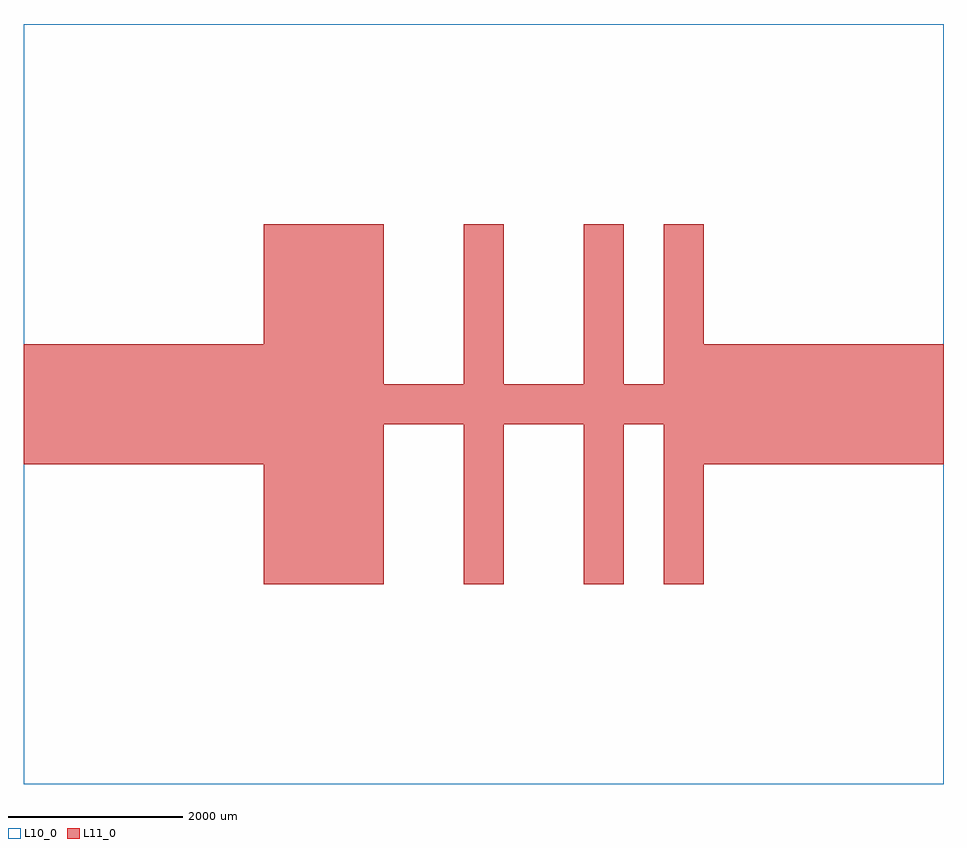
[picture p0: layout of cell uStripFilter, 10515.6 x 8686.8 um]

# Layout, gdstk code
import gdstk
lib = gdstk.Library(unit=1e-6, precision=1e-09)
def R(c, l, rs):  # rectangles x0, y0, x1, y1
    for r in rs: c.add(gdstk.rectangle(r[:2], r[2:], *l))
def A(c, l, x, y, w, h, nx, ny, dx, dy):  # array of equal rectangles
    R(c, l, [(x+i*dx, y+j*dy, x+i*dx+w, y+j*dy+h) for i in range(nx) for j in range(ny)])
L10_0 = (10, 0)
L11_0 = (11, 0)

ustripfilter = lib.new_cell('uStripFilter')
R(ustripfilter, L10_0, [(0,0,10515.6,8686.8)])
A(ustripfilter, L11_0, 2743.2, 2286, 457.2, 457.2, 3, 3, 457.2, 457.2)
A(ustripfilter, L11_0, 5029.2, 2286, 457.2, 457.2, 1, 4, 0, 457.2)
A(ustripfilter, L11_0, 6400.8, 2286, 457.2, 457.2, 1, 4, 0, 457.2)
A(ustripfilter, L11_0, 7315.2, 2286, 457.2, 457.2, 1, 3, 0, 457.2)
A(ustripfilter, L11_0, 0, 3657.6, 457.2, 457.2, 9, 2, 457.2, 914.4)
A(ustripfilter, L11_0, 7315.2, 3657.6, 457.2, 457.2, 7, 2, 457.2, 914.4)
A(ustripfilter, L11_0, 0, 4114.8, 457.2, 457.2, 23, 1, 457.2, 0)
A(ustripfilter, L11_0, 5029.2, 4572, 457.2, 457.2, 1, 4, 0, 457.2)
A(ustripfilter, L11_0, 6400.8, 4572, 457.2, 457.2, 1, 4, 0, 457.2)
A(ustripfilter, L11_0, 2743.2, 5029.2, 457.2, 457.2, 3, 3, 457.2, 457.2)
A(ustripfilter, L11_0, 7315.2, 5029.2, 457.2, 457.2, 1, 3, 0, 457.2)

lib.write_gds('uStripFilter.gds')
